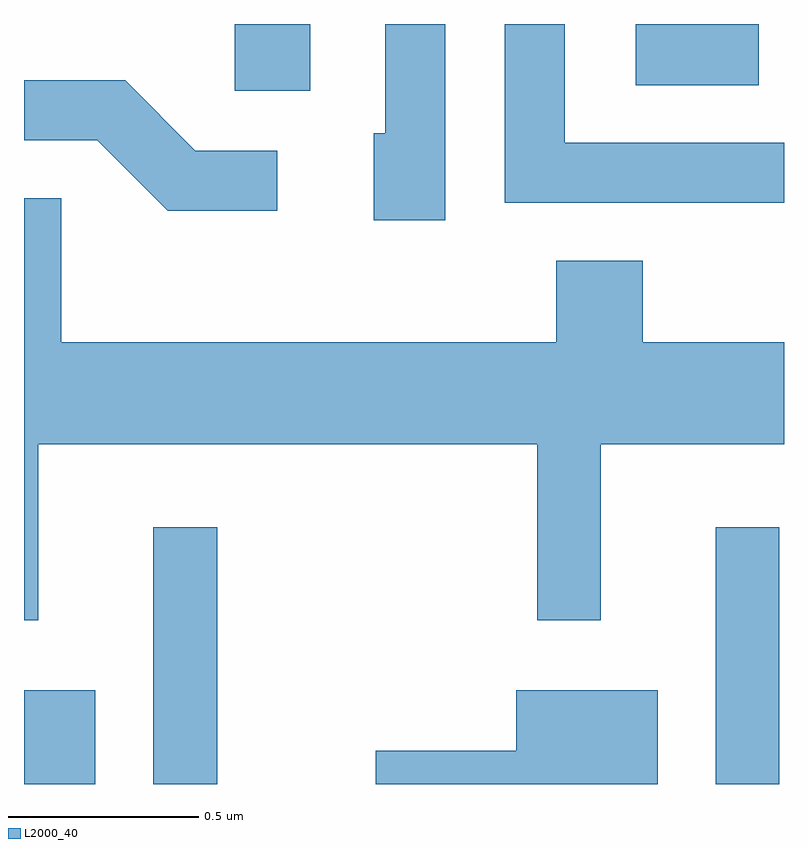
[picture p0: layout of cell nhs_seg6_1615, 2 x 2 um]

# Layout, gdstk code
import gdstk
lib = gdstk.Library(unit=1e-6, precision=1e-09)
def R(c, l, rs):  # rectangles x0, y0, x1, y1
    for r in rs: c.add(gdstk.rectangle(r[:2], r[2:], *l))
def P(c, l, *ps):  # polygons
    for p in ps: c.add(gdstk.Polygon(p, *l))
L2000_40 = (2000, 40)

nhs_seg6_1615 = lib.new_cell('nhs_seg6_1615')
R(nhs_seg6_1615, L2000_40, [(196.611,1640.162,196.799,1640.409), (196.951,1640.162,197.119,1640.838), (198.431,1640.162,198.599,1640.838), (197.166,1641.986,197.364,1642.162), (198.221,1642.001,198.544,1642.162)])
P(nhs_seg6_1615, L2000_40, [(198.611,1641.849),(198.034,1641.849),(198.034,1642.162),(197.876,1642.162),(197.876,1641.691),(198.611,1641.691)],
  [(197.719,1642.162),(197.561,1642.162),(197.561,1641.874),(197.531,1641.874),(197.531,1641.646),(197.719,1641.646)],
  [(197.278,1641.829),(197.062,1641.829),(196.877,1642.014),(196.611,1642.014),(196.611,1641.856),(196.804,1641.856),(196.989,1641.671),(197.278,1641.671)],
  [(196.649,1641.056),(197.961,1641.056),(197.961,1640.593),(198.129,1640.593),(198.129,1641.056),(198.611,1641.056),(198.611,1641.324),(198.239,1641.324),(198.239,1641.539),(198.011,1641.539),(198.011,1641.324),(196.709,1641.324),(196.709,1641.704),(196.611,1641.704),(196.611,1640.593),(196.649,1640.593)],
  [(198.279,1640.409),(197.906,1640.409),(197.906,1640.249),(197.536,1640.249),(197.536,1640.162),(198.279,1640.162)])

lib.write_gds('nhs_seg6_1615.gds')
